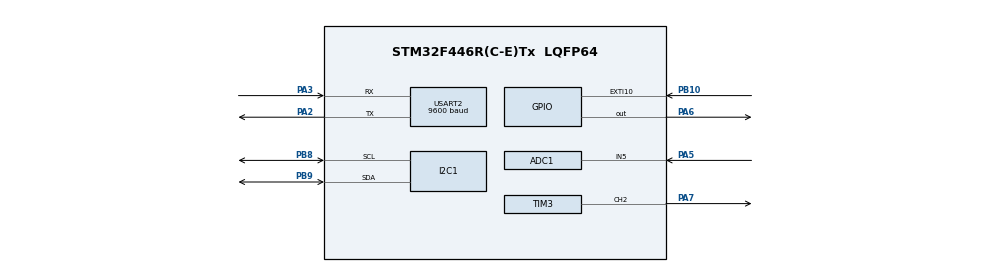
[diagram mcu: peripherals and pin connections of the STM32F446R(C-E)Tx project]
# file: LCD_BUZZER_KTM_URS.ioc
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ADC1.Channel-0\#ChannelRegularConversion=ADC_CHANNEL_5
ADC1.NbrOfConversionFlag=1
ADC1.Rank-0\#ChannelRegularConversion=1
ADC1.SamplingTime-0\#ChannelRegularConversion=ADC_SAMPLETIME_3CYCLES
ADC1.master=1
Mcu.Family=STM32F4
Mcu.Name=STM32F446R(C-E)Tx
Mcu.Package=LQFP64
NVIC.EXTI15_10_IRQn=true\:3\:0\:true\:false\:true\:true\:true\:true
NVIC.PriorityGroup=NVIC_PRIORITYGROUP_4
PA13.Mode=Serial_Wire
PA13.Signal=SYS_JTMS-SWDIO
PA14.Mode=Serial_Wire
PA14.Signal=SYS_JTCK-SWCLK
PA2.Mode=Asynchronous
PA2.Signal=USART2_TX
PA3.Mode=Asynchronous
PA3.Signal=USART2_RX
PA5.Signal=ADCx_IN5
PA6.Signal=GPIO_Output
PA7.Signal=S_TIM3_CH2
PB10.GPIO_ModeDefaultEXTI=GPIO_MODE_IT_FALLING
PB10.GPIO_PuPd=GPIO_PULLUP
PB10.Signal=GPXTI10
PB8.Mode=I2C
PB8.Signal=I2C1_SCL
PB9.Mode=I2C
PB9.Signal=I2C1_SDA
ProjectManager.HeapSize=0x200
ProjectManager.StackSize=0x400
ProjectManager.TargetToolchain=STM32CubeIDE
RCC.CortexFreq_Value=16000000
RCC.USBFreq_Value=96000000
RCC.VCOOutputFreq_Value=192000000
SH.ADCx_IN5.0=ADC1_IN5,IN5
SH.S_TIM3_CH2.0=TIM3_CH2,PWM Generation2 CH2
TIM3.Channel-PWM\ Generation2\ CH2=TIM_CHANNEL_2
TIM3.Period=999
TIM3.Prescaler=15
TIM3.Pulse-PWM\ Generation2\ CH2=500
USART2.BaudRate=9600
USART2.VirtualMode=VM_ASYNC
board=custom

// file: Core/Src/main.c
/* USER CODE BEGIN Header */
/**
  ******************************************************************************
  * @file           : main.c
  * @brief          : Main program body
  ******************************************************************************
  * @attention
  *
  * Copyright (c) 2024 STMicroelectronics.
  * All rights reserved.
  *
  * This software is licensed under terms that can be found in the LICENSE file
  * in the root directory of this software component.
  * If no LICENSE file comes with this software, it is provided AS-IS.
  *
  ******************************************************************************
  */
/* USER CODE END Header */
#include "main.h"
#include "adc.h"
#include "i2c.h"
#include "tim.h"
#include "usart.h"
#include "gpio.h"

/* USER CODE BEGIN Includes */
#include "liquidcrystal_i2c.h"
#include <stdio.h>
#ifdef __GNUC__
#define PUTCHAR_PROTOTYPE int __io_putchar(int ch)
#define GETCHAR_PROTOTYPE int __io_getchar(void)
#else
#define PUTCHAR_PROTOTYPE int fputc(int ch, FILE *f)
#define GETCHAR_PROTOTYPE int fgetc(FILE *f)
#endif
PUTCHAR_PROTOTYPE
{
 HAL_UART_Transmit(&huart2, (uint8_t *)&ch, 1, HAL_MAX_DELAY);
 return ch;
}
GETCHAR_PROTOTYPE
{
 uint8_t ch = 0;
 __HAL_UART_CLEAR_OREFLAG(&huart2);
 HAL_UART_Receive(&huart2, (uint8_t *)&ch, 1, HAL_MAX_DELAY);
 HAL_UART_Transmit(&huart2, (uint8_t *)&ch, 1, HAL_MAX_DELAY);
 return ch;
}

/* USER CODE END Includes */

void SystemClock_Config(void);

int main(void)
{

  /* USER CODE BEGIN 1 */
	setvbuf(stdin, NULL, _IONBF, 0);

  /* USER CODE END 1 */

  /* MCU Configuration--------------------------------------------------------*/

  /* Reset of all peripherals, Initializes the Flash interface and the Systick. */
  HAL_Init();

  /* Configure the system clock */
  SystemClock_Config();

  /* Initialize all configured peripherals */
  MX_GPIO_Init();
  MX_ADC1_Init();
  MX_I2C1_Init();
  MX_TIM3_Init();
  MX_USART2_UART_Init();
  /* USER CODE BEGIN 2 */
  HAL_TIM_PWM_Start(&htim3, TIM_CHANNEL_2);

  HD44780_Init(2);
  HD44780_Clear();
  HD44780_SetCursor(0,0);
  HD44780_PrintStr("Luka Cerneli");
  HD44780_SetCursor(0,1);
  HD44780_PrintStr("0246104043");
  HAL_Delay(1000);

  /* USER CODE END 2 */

  /* Infinite loop */
  /* USER CODE BEGIN WHILE */
uint16_t rawValue;

  while (1)
  {
	  //potenciometar
	  HAL_ADC_Start(&hadc1);
	  HAL_ADC_PollForConversion(&hadc1, HAL_MAX_DELAY);
	  uint32_t adcVrijednost = HAL_ADC_GetValue(&hadc1);
	  //PWM buzzer
	  uint32_t period = 4095 - adcVrijednost;
	  if (period < 100) period = 100;
	  if (period > 9999) period = 9999;
	  //period-buzzer
	  __HAL_TIM_SET_AUTORELOAD(&htim3, period);
	  //dutycycle-buzzer
	  uint32_t RadniCikluspwm = period / 2;
	  __HAL_TIM_SET_COMPARE(&htim3, TIM_CHANNEL_2, RadniCikluspwm);
	  //buzzer-frekvencija
	  float FrekvencijaBuzzera = (float)16000000 / ((15 + 1) * (period + 1)) ;
	  //ovisnost treptanja (LED-ice) o potenciometru
	  uint32_t periodLEDice = 1000 - (adcVrijednost / 4);
	  if (periodLEDice < 100) periodLEDice = 100;
	  if (periodLEDice > 1000) periodLEDice = 1000;
	  //LED upravljanje
	  HAL_GPIO_WritePin(GPIOA, GPIO_PIN_6, GPIO_PIN_SET);
	  HAL_Delay(periodLEDice / 2);
	  HAL_GPIO_WritePin(GPIOA, GPIO_PIN_6, GPIO_PIN_RESET);
	  HAL_Delay(periodLEDice / 2);
	  //TeraTerm ispis vrijednosti
	  printf("ADC rawValue: %d\r\n", adcVrijednost);
	  printf("Voltage: %.2f mV\r\n", ((float)adcVrijednost / 4095) * 3300);
	  printf("Frekvencija Buzzera: %.2f Hz/r/n", FrekvencijaBuzzera);
	  printf("Period blinkanja LED-ice: %lu ms\r\n", periodLEDice);
	  HAL_Delay(200);

    /* USER CODE END WHILE */

  }
}

void SystemClock_Config(void)
{
  RCC_OscInitTypeDef RCC_OscInitStruct = {0};
  RCC_ClkInitTypeDef RCC_ClkInitStruct = {0};

  /** Configure the main internal regulator output voltage
  */
  __HAL_RCC_PWR_CLK_ENABLE();
  __HAL_PWR_VOLTAGESCALING_CONFIG(PWR_REGULATOR_VOLTAGE_SCALE3);

  /** Initializes the RCC Oscillators according to the specified parameters
  * in the RCC_OscInitTypeDef structure.
  */
  RCC_OscInitStruct.OscillatorType = RCC_OSCILLATORTYPE_HSI;
  RCC_OscInitStruct.HSIState = RCC_HSI_ON;
  RCC_OscInitStruct.HSICalibrationValue = RCC_HSICALIBRATION_DEFAULT;
  RCC_OscInitStruct.PLL.PLLState = RCC_PLL_NONE;
  if (HAL_RCC_OscConfig(&RCC_OscInitStruct) != HAL_OK)
  {
    Error_Handler();
  }

  /** Initializes the CPU, AHB and APB buses clocks
  */
  RCC_ClkInitStruct.ClockType = RCC_CLOCKTYPE_HCLK|RCC_CLOCKTYPE_SYSCLK
                              |RCC_CLOCKTYPE_PCLK1|RCC_CLOCKTYPE_PCLK2;
  RCC_ClkInitStruct.SYSCLKSource = RCC_SYSCLKSOURCE_HSI;
  RCC_ClkInitStruct.AHBCLKDivider = RCC_SYSCLK_DIV1;
  RCC_ClkInitStruct.APB1CLKDivider = RCC_HCLK_DIV1;
  RCC_ClkInitStruct.APB2CLKDivider = RCC_HCLK_DIV1;

  if (HAL_RCC_ClockConfig(&RCC_ClkInitStruct, FLASH_LATENCY_0) != HAL_OK)
  {
    Error_Handler();
  }
}

void Error_Handler(void)
{
  __disable_irq();
  while (1)
  {
  }
}
